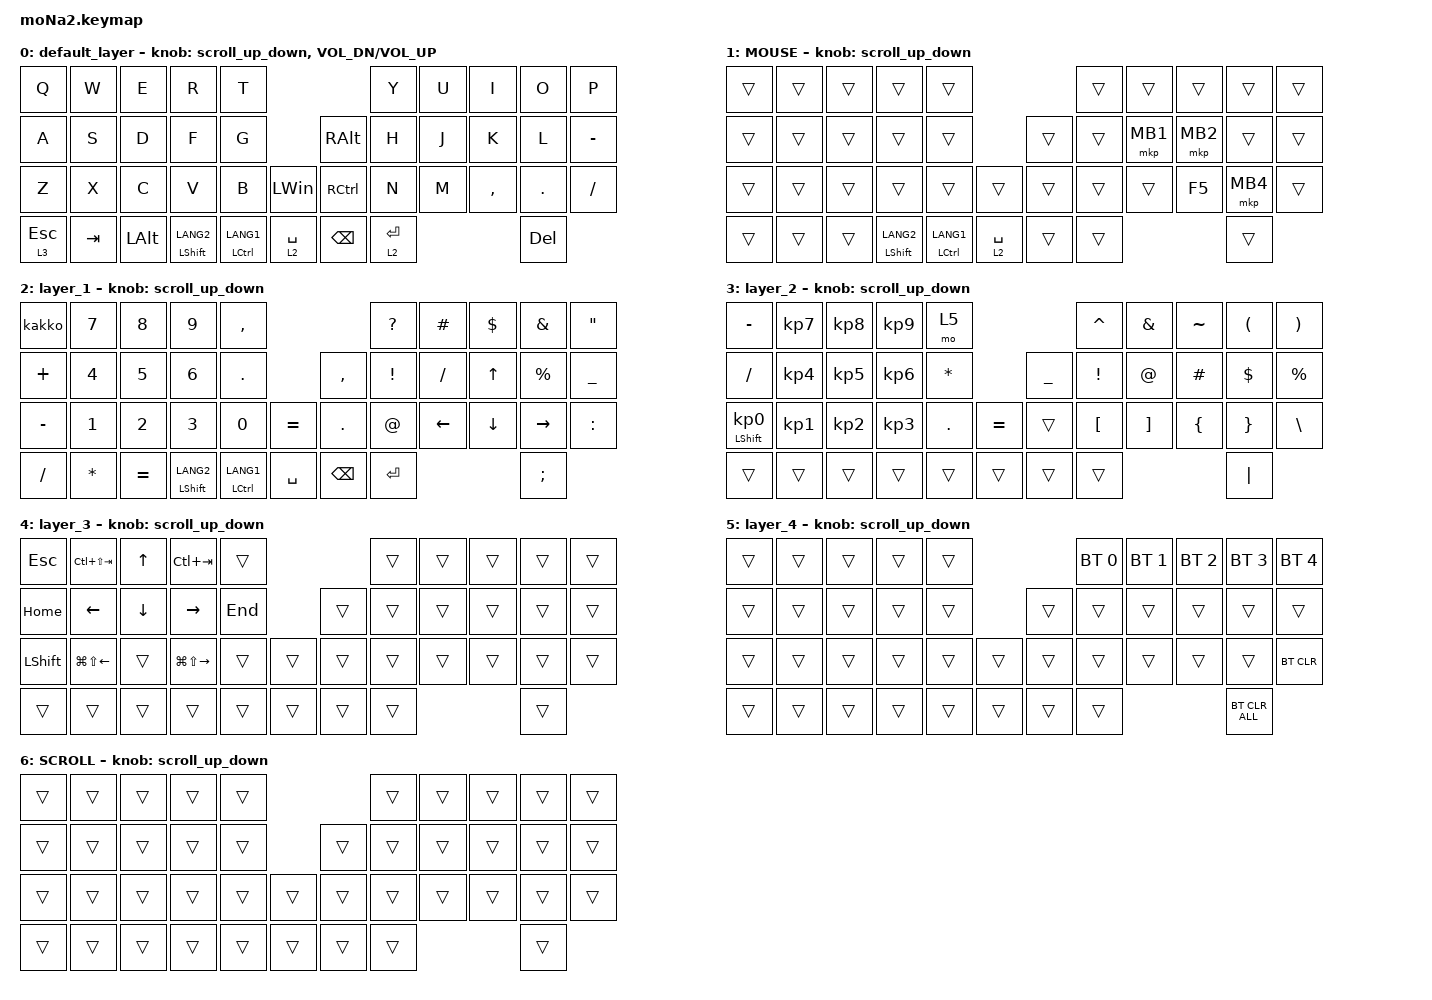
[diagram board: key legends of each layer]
#include <behaviors.dtsi>
#include <dt-bindings/zmk/bt.h>
#include <dt-bindings/zmk/keys.h>
#include <dt-bindings/zmk/pointing.h>

#define ZMK_POINTING_DEFAULT_SCRL_VAL 100
#define MOUSE 5
#define SCROLL 6

&mt {
    flavor = "balanced";
    quick-tap-ms = <0>;
};

/ {
    combos { compatible = "zmk,combos"; };

    macros {
        to_layer_0: to_layer_0 {
            compatible = "zmk,behavior-macro-one-param";
            #binding-cells = <1>;
            bindings = <&to 0 &macro_param_1to1 &kp MACRO_PLACEHOLDER>;
            label = "TO_LAYER_0";
        };

        kakko: kakko {
            compatible = "zmk,behavior-macro";
            #binding-cells = <0>;
            bindings = <&kp LEFT_PARENTHESIS &kp RIGHT_PARENTHESIS>;
            label = "KAKKO";
        };
    };

    behaviors {
        lt_to_layer_0: lt_to_layer_0 {
            compatible = "zmk,behavior-hold-tap";
            label = "LAYER_TAP_TO_0";
            bindings = <&mo>, <&to_layer_0>;

            #binding-cells = <2>;
            tapping-term-ms = <200>;
        };

        scroll_up_down: behavior_sensor_rotate_mouse_wheel_up_down {
            compatible = "zmk,behavior-sensor-rotate";
            #sensor-binding-cells = <0>;
            bindings = <&msc SCRL_UP>, <&msc SCRL_DOWN>;

            tap-ms = <20>;
        };
    };

    keymap {
        compatible = "zmk,keymap";

        default_layer {
            bindings = <
&kp Q      &kp W    &kp E         &kp R                      &kp T                                                             &kp Y        &kp U  &kp I      &kp O    &kp P
&kp A      &kp S    &kp D         &kp F                      &kp G                                          &kp RIGHT_ALT      &kp H        &kp J  &kp K      &kp L    &kp MINUS
&kp Z      &kp X    &kp C         &kp V                      &kp B                          &kp LEFT_WIN    &kp RIGHT_CONTROL  &kp N        &kp M  &kp COMMA  &kp DOT  &kp SLASH
&lt 3 ESC  &kp TAB  &kp LEFT_ALT  &mt LEFT_SHIFT LANG2  &mt LEFT_CONTROL LANG1  &lt 2 SPACE     &kp BACKSPACE      &lt 2 ENTER                             &kp DEL
            >;

            sensor-bindings =
                <&scroll_up_down>,
                <&inc_dec_kp C_VOL_DN C_VOL_UP>;
        };

        MOUSE {
            bindings = <
&trans  &trans  &trans  &trans                     &trans                                                &trans  &trans    &trans    &trans    &trans
&trans  &trans  &trans  &trans                     &trans                                        &trans  &trans  &mkp MB1  &mkp MB2  &trans    &trans
&trans  &trans  &trans  &trans                     &trans                         &trans         &trans  &trans  &trans    &kp F5    &mkp MB4  &trans
&trans  &trans  &trans  &mt LEFT_SHIFT LANG2  &mt LEFT_CONTROL LANG1  &lt 2 SPACE    &trans  &trans                                &trans
            >;

            sensor-bindings = <&scroll_up_down>;
        };

        layer_1 {
            bindings = <
&kakko     &kp N7        &kp N8        &kp N9                     &kp COMMA                                                  &kp QUESTION     &kp HASH        &kp DOLLAR      &kp AMPERSAND    &kp DOUBLE_QUOTES
&kp PLUS   &kp NUMBER_4  &kp N5        &kp NUMBER_6               &kp PERIOD                                  &kp COMMA      &kp EXCLAMATION  &kp SLASH       &kp UP_ARROW    &kp PERCENT      &kp UNDERSCORE
&kp MINUS  &kp NUMBER_1  &kp NUMBER_2  &kp NUMBER_3               &kp N0                         &kp EQUAL    &kp PERIOD     &kp AT_SIGN      &kp LEFT_ARROW  &kp DOWN_ARROW  &kp RIGHT_ARROW  &kp COLON
&kp SLASH  &kp ASTERISK  &kp EQUAL     &mt LEFT_SHIFT LANG2  &mt LEFT_CONTROL LANG1  &kp SPACE    &kp BACKSPACE  &kp ENTER                                                         &kp SEMICOLON
            >;

            sensor-bindings = <&scroll_up_down>;
        };

        layer_2 {
            bindings = <
&kp MINUS                   &kp KP_NUMBER_7  &kp KP_NUMBER_8  &kp KP_NUMBER_9  &mo 5                                 &kp CARET         &kp AMPERSAND      &kp TILDE       &kp LEFT_PARENTHESIS  &kp RIGHT_PARENTHESIS
&kp SLASH                   &kp KP_NUMBER_4  &kp KP_NUMBER_5  &kp KP_NUMBER_6  &kp ASTERISK               &kp UNDERSCORE  &kp EXCLAMATION   &kp AT_SIGN        &kp HASH        &kp DOLLAR            &kp PERCENT
&mt LEFT_SHIFT KP_NUMBER_0  &kp KP_NUMBER_1  &kp KP_NUMBER_2  &kp KP_NUMBER_3  &kp PERIOD    &kp EQUAL    &trans          &kp LEFT_BRACKET  &kp RIGHT_BRACKET  &kp LEFT_BRACE  &kp RIGHT_BRACE       &kp BACKSLASH
&trans                      &trans           &trans           &trans           &trans        &trans       &trans          &trans                                                                     &kp PIPE
            >;

            sensor-bindings = <&scroll_up_down>;
        };

        layer_3 {
            bindings = <
&kp ESCAPE      &kp LC(LS(TAB))         &kp UP_ARROW    &kp LC(TAB)              &trans                    &trans  &trans  &trans  &trans  &trans
&kp HOME        &kp LEFT_ARROW          &kp DOWN_ARROW  &kp RIGHT_ARROW          &kp END            &trans  &trans  &trans  &trans  &trans  &trans
&kp LEFT_SHIFT  &kp LG(LS(LEFT_ARROW))  &trans          &kp LG(LS(RIGHT_ARROW))  &trans   &trans    &trans  &trans  &trans  &trans  &trans  &trans
&trans          &trans                  &trans          &trans                   &trans   &trans    &trans  &trans                          &trans
            >;

            sensor-bindings = <&scroll_up_down>;
        };

        layer_4 {
            bindings = <
&trans  &trans  &trans  &trans  &trans                    &bt BT_SEL 0  &bt BT_SEL 1  &bt BT_SEL 2  &bt BT_SEL 3  &bt BT_SEL 4
&trans  &trans  &trans  &trans  &trans            &trans  &trans        &trans        &trans        &trans        &trans
&trans  &trans  &trans  &trans  &trans  &trans    &trans  &trans        &trans        &trans        &trans        &bt BT_CLR
&trans  &trans  &trans  &trans  &trans  &trans    &trans  &trans                                                  &bt BT_CLR_ALL
            >;

            sensor-bindings = <&scroll_up_down>;
        };

        SCROLL {
            bindings = <
&trans  &trans  &trans  &trans  &trans                    &trans  &trans  &trans  &trans  &trans
&trans  &trans  &trans  &trans  &trans            &trans  &trans  &trans  &trans  &trans  &trans
&trans  &trans  &trans  &trans  &trans  &trans    &trans  &trans  &trans  &trans  &trans  &trans
&trans  &trans  &trans  &trans  &trans  &trans    &trans  &trans                          &trans
            >;

            sensor-bindings = <&scroll_up_down>;
        };
    };
};
